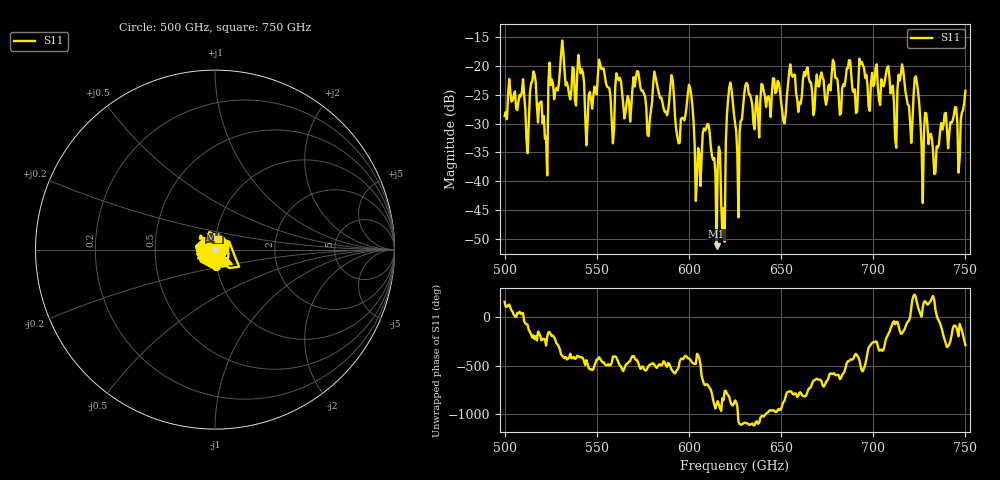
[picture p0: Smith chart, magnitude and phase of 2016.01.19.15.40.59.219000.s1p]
!Created with skrf (http://scikit-rf.org).
# GHz S RI R 50.0
!freq ReS11 ImS11
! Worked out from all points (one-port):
!   401 points, 500 GHz to 750 GHz, reference 50 ohm
!   lowest |S11| = -51.2 dB at 615 GHz (marker M1), VSWR 1.01, Z = 49.7 - j0.0289 ohm
!   |S11| at or under -10 dB: start of sweep to end of sweep
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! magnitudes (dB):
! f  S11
! 500 GHz  -28.7
! 512.5 GHz  -35.1
! 515.6 GHz  -21.0
! 521.9 GHz  -32.6
! 531.2 GHz  -15.7
! 545 GHz  -29.7
! 552.5 GHz  -20.6
! 558.1 GHz  -29.6
! 562.5 GHz  -22.1
! 578.1 GHz  -32.2
! 590.6 GHz  -21.6
! 593.8 GHz  -32.3
! 600.6 GHz  -23.8
! 605 GHz  -34.2
! 609.4 GHz  -30.8
! 615 GHz  -51.2
! 618.8 GHz  -44.6
! 621.9 GHz  -23.7
! 625 GHz  -29.8
! 631.2 GHz  -23.0
! 651.9 GHz  -30.0
! 656.2 GHz  -21.9
! 687.5 GHz  -19.1
! 718.8 GHz  -26.7
! 723.8 GHz  -23.1
! 726.2 GHz  -34.1
! 733.8 GHz  -38.5
! 750 GHz  -24.3
